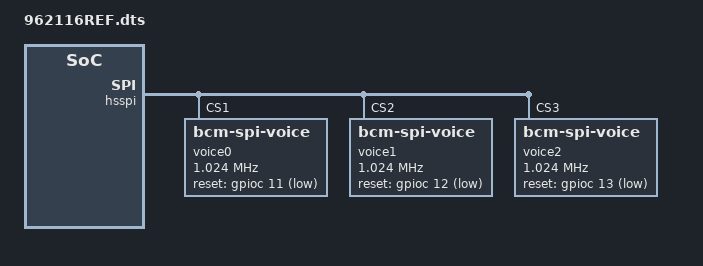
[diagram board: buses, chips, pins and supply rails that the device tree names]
#include "4908.dtsi"
#include "../bcm_voice.dtsi"
#include "94906REF_leds.dtsi"

/ {
    memory_controller {
        memcfg = <(BP_DDR_SPEED_800_11_11_11 | \
                   BP_DDR_TOTAL_SIZE_512MB   | \
                   BP_DDR_DEVICE_WIDTH_16    | \
                   BP_DDR_TOTAL_WIDTH_16BIT  | \
                   BP_DDR_SSC_CONFIG_1)>;
    };

	buttons {
		compatible = "brcm,buttons";
		reset_button {
			ext_irq = <&bca_extintr 23 BCA_GPIO_ACTIVE_LOW (BCA_EXTINTR_TYPE_LOW_LEVEL | BCA_EXTINTR_TYPE_SENSE_LEVEL)>;
			press {
				print = "Button Press -- Hold for 5s to do restore to default";
			};
			hold {
				rst_to_dflt = <5>;
			};
			release {
				reset = <0>;
			};	
		};
		ses_button {
			ext_irq = <&bca_extintr 22 BCA_GPIO_ACTIVE_LOW (BCA_EXTINTR_TYPE_LOW_LEVEL | BCA_EXTINTR_TYPE_SENSE_LEVEL)>;
			release {
				ses_short_period = <0>;
				ses_long_period = <3>;
			};
		};
	};
};

&bcm_voice{
	sliclist = SLICSLAC_LIST_COMMON_FXO;
 };

&hsspi {
	status = "okay";
	voice0 {
		pinctrl-0 = <&spim_ss1_b_pin_56>;
		pinctrl-names = "default";
		compatible = "bcm-spi-voice";
		reg = <1>; /* chip select 1 */
		spi-max-frequency = <1024000>;
		reset-gpio = <&gpioc 11 GPIO_ACTIVE_LOW>;
		spi-index = <0>;/* voice header index */
	};
	voice1 {
		pinctrl-0 = <&spim_ss2_b_pin_23>;
		pinctrl-names = "default";
		compatible = "bcm-spi-voice";
		reg = <2>; /* chip select 2 */
		spi-max-frequency = <1024000>;
		reset-gpio = <&gpioc 12 GPIO_ACTIVE_LOW>;
		spi-index = <1>;/* voice header index */
	};
	voice2 {
		pinctrl-0 = <&spim_ss3_b_pin_22>;
		pinctrl-names = "default";
		compatible = "bcm-spi-voice";
		reg = <3>; /* chip select 3 */
		spi-max-frequency = <1024000>;
		reset-gpio = <&gpioc 13 GPIO_ACTIVE_LOW>;
		spi-index = <2>;/* voice header index */
	};
};

&mdio_sf2 {
	/* PHYs directly connected to SF2 */
	gphy8:8 {
		status = "okay";
	};
	gphy9:9 {
		status = "okay";
	};
	gphya:a {
		status = "okay";
	};
	gphyb:b {
		status = "okay";
	};

	/* PHYs connected to crossbar */
	gphyc:c {
		status = "okay";
	};

	/* Crossbar groups */
	xbar_grp1:1 {
		phy-handle = <&gphyc>;
		status = "okay";
	};
};

&switch_sf2 {
	ports {
		sf2_port0@0 {
			phy-handle = <&gphy8>;
			network-leds = <&led0 &led1 &led26>;
			status = "okay";
		};

		sf2_port1@1 {
			phy-handle = <&gphy9>;
			network-leds = <&led2 &led3 &led27>;
			status = "okay";
		};

		sf2_port2@2 {
			phy-handle = <&gphya>;
			network-leds = <&led4 &led5 &led28>;
			status = "okay";
		};

		sf2_port3@3 {
			phy-handle = <&gphyb>;
			network-leds = <&led6 &led7 &led29>;
			status = "okay";
		};

	};
};

&switch0 {
	ports {
		
		port3@3 {
			phy-handle = <&xbar_grp1>;
			phy-mode = "gmii";
			network-leds = <&led22 &led23 &led21>;
			status = "okay";
		};
	};
};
